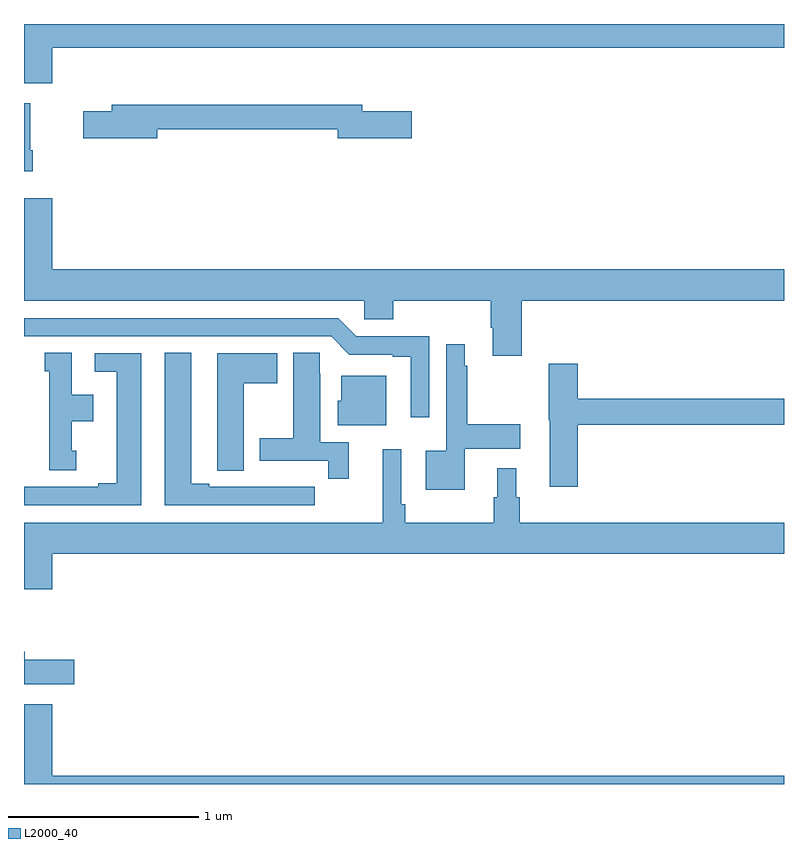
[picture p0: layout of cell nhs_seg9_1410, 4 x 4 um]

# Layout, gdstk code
import gdstk
lib = gdstk.Library(unit=1e-6, precision=1e-09)
def P(c, l, *ps):  # polygons
    for p in ps: c.add(gdstk.Polygon(p, *l))
L2000_40 = (2000, 40)

nhs_seg9_1410 = lib.new_cell('nhs_seg9_1410')
P(nhs_seg9_1410, L2000_40, [(189.148,1240.376),(193,1240.376),(193,1240.5),(189,1240.5),(189,1240.188),(189.148,1240.188)],
  [(189.047,1239.835),(189.034,1239.835),(189.034,1240.084),(189,1240.084),(189,1239.724),(189.047,1239.724)],
  [(189.7,1239.946),(190.652,1239.946),(190.652,1239.899),(191.041,1239.899),(191.041,1240.041),(190.78,1240.041),(190.78,1240.075),(189.461,1240.075),(189.461,1240.041),(189.312,1240.041),(189.312,1239.899),(189.7,1239.899)],
  [(191.621,1239.044),(193,1239.044),(193,1239.208),(189.148,1239.208),(189.148,1239.583),(189,1239.583),(189,1239.044),(190.791,1239.044),(190.791,1238.946),(190.943,1238.946),(190.943,1239.044),(191.456,1239.044),(191.456,1238.902),(191.468,1238.902),(191.468,1238.754),(191.621,1238.754)],
  [(191.133,1238.856),(190.749,1238.856),(190.653,1238.952),(189,1238.952),(189,1238.856),(190.617,1238.856),(190.713,1238.76),(190.94,1238.76),(190.94,1238.748),(191.036,1238.748),(191.036,1238.43),(191.133,1238.43)],
  [(191.32,1238.264),(191.611,1238.264),(191.611,1238.394),(191.332,1238.394),(191.332,1238.702),(191.32,1238.702),(191.32,1238.815),(191.223,1238.815),(191.223,1238.254),(191.114,1238.254),(191.114,1238.048),(191.32,1238.048)],
  [(190.709,1238.298),(190.558,1238.298),(190.558,1238.66),(190.557,1238.66),(190.557,1238.771),(190.418,1238.771),(190.418,1238.319),(190.241,1238.319),(190.241,1238.202),(190.6,1238.202),(190.6,1238.106),(190.709,1238.106)],
  [(189.274,1238.253),(189.25,1238.253),(189.25,1238.408),(189.364,1238.408),(189.364,1238.548),(189.25,1238.548),(189.25,1238.771),(189.11,1238.771),(189.11,1238.673),(189.134,1238.673),(189.134,1238.151),(189.274,1238.151)],
  [(190.531,1238.064),(190.418,1238.064),(190.418,1238.065),(190.252,1238.065),(190.252,1238.064),(189.976,1238.064),(189.976,1238.079),(189.88,1238.079),(189.88,1238.771),(189.74,1238.771),(189.74,1237.968),(190.531,1237.968)],
  [(190.156,1238.608),(190.333,1238.608),(190.333,1238.767),(190.016,1238.767),(190.016,1238.257),(190.017,1238.257),(190.017,1238.149),(190.156,1238.149)],
  [(189.616,1238.766),(189.372,1238.766),(189.372,1238.67),(189.488,1238.67),(189.488,1238.084),(189.392,1238.084),(189.392,1238.064),(189,1238.064),(189,1237.968),(189.616,1237.968)],
  [(191.915,1238.392),(193,1238.392),(193,1238.528),(191.915,1238.528),(191.915,1238.713),(191.761,1238.713),(191.761,1238.415),(191.768,1238.415),(191.768,1238.064),(191.915,1238.064)],
  [(190.906,1238.65),(190.67,1238.65),(190.67,1238.517),(190.652,1238.517),(190.652,1238.387),(190.906,1238.387)],
  [(189.148,1237.712),(193,1237.712),(193,1237.876),(191.609,1237.876),(191.609,1238.01),(191.59,1238.01),(191.59,1238.161),(191.492,1238.161),(191.492,1238.01),(191.473,1238.01),(191.473,1237.876),(191.006,1237.876),(191.006,1237.972),(190.986,1237.972),(190.986,1238.263),(190.889,1238.263),(190.889,1237.876),(189,1237.876),(189,1237.524),(189.148,1237.524)],
  [(189.265,1237.155),(189.004,1237.155),(189.004,1237.196),(189,1237.196),(189,1237.025),(189.265,1237.025)],
  [(193,1236.544),(189.148,1236.544),(189.148,1236.919),(189,1236.919),(189,1236.5),(193,1236.5)])

lib.write_gds('nhs_seg9_1410.gds')
